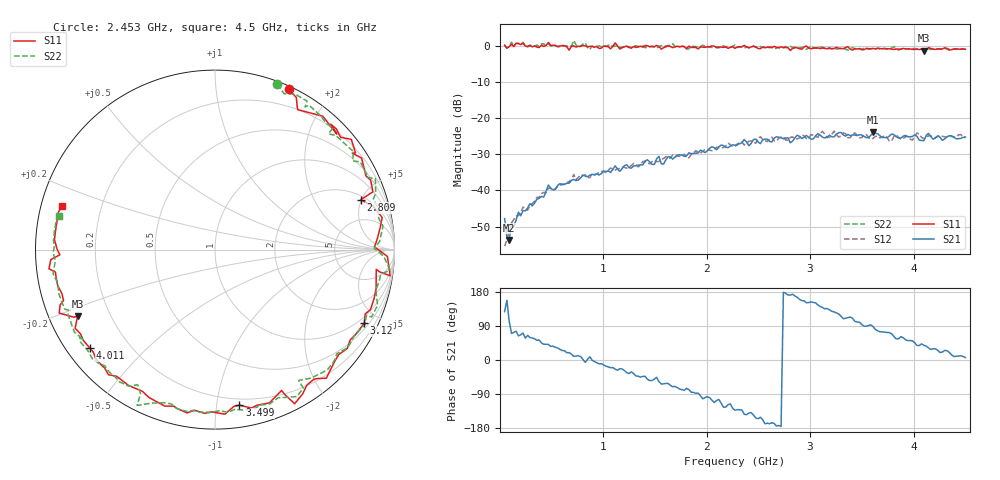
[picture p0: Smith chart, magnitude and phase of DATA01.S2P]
! Network Analyzer HP8722ES.07.74: Oct 30, 2002 Serial No. US39175660
! Hewlett-Packard
! 30 May 2012  16:24:00
! Frequency  S11  S21  S12  S22
# HZ  S  RI R  50
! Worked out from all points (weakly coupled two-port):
!   201 points, 50 MHz to 4.5 GHz, reference 50 ohm
!   highest |S21| = -23.95 dB at 3.61 GHz (marker M1); lowest = -53.7 dB at 94.5 MHz (marker M2)
!   lowest |S11| = -1.4 dB at 4.099 GHz (marker M3), VSWR 12.37, Z = 4.25 - j11.4 ohm
!   |S11| at or under -10 dB: nowhere
!   |S22| runs from -1.3 to 1.4 dB; largest |S21 - S12| = 0.015
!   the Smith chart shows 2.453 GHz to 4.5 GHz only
!   S11 on the Smith chart (normalised r, x): 2.453 GHz: 0.03, +1.56; 2.809 GHz: 2.36, +4.92; 3.12 GHz: 0.71, -4.17; 3.499 GHz: 0.15, -1.16; 4.011 GHz: 0.07, -0.34; 4.5 GHz: 0.06, +0.14
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5e7  1.01 -0.114  -0.0025 0.00323  0.00128 -0.00112  1.007 -0.1103
9.45e7  0.9574 -0.1477  -0.000416 0.00202  0.00079 0.00261  0.962 -0.1479
1.1675e8  1.009 -0.2685  0.00122 0.00335  -0.00124 0.00335  1.073 -0.3
2.28e8  0.9491 -0.5187  0.00171 0.00498  0.00202 0.00556  0.9777 -0.5243
4.2825e8  0.4884 -0.8433  0.00607 0.00538  0.00761 0.00553  0.418 -0.9747
8.065e8  -0.3138 -0.9558  0.0163 0.000429  0.016 0.000908  -0.3024 -1.009
1.0735e9  -0.6942 -0.5774  0.0166 -0.00619  0.0187 -0.00813  -0.8148 -0.6271
1.118e9  -0.8407 -0.6949  0.02 -0.00901  0.0181 -0.0059  -0.716 -0.671
1.54075e9  -0.9604 0.1465  0.016 -0.0248  0.0118 -0.0222  -0.9606 0.1296
1.563e9  -0.8716 0.2004  0.0105 -0.0209  0.0099 -0.0247  -0.9444 0.3362
1.83e9  -0.7889 0.5877  0.00679 -0.0324  0.00214 -0.0282  -0.6868 0.5854
2.275e9  0.0973 0.9141  -0.0284 -0.0308  -0.0212 -0.0352  -0.0642 1.017
2.453e9  0.4096 0.8933  -0.0413 -0.0286  -0.04 -0.0245  0.3464 0.9206
2.809e9  0.8109 0.2769  -0.045 0.00689  -0.0539 0.00221  0.8936 0.395
3.0315e9  0.8976 -0.2169  -0.0453 0.0243  -0.0479 0.032  0.9228 -0.1413
3.1205e9  0.8318 -0.4105  -0.0407 0.036  -0.0464 0.0461  0.8727 -0.3752
3.49875e9  0.1358 -0.8668  -0.0036 0.0583  -0.00504 0.0534  0.2526 -0.8665
3.61e9  -0.0581 -0.9121  0.00284 0.0634  0.00487 0.0523  0.0269 -0.8977
3.76575e9  -0.3691 -0.8231  0.0172 0.0537  0.0198 0.0439  -0.2847 -0.8529
4.0105e9  -0.6982 -0.548  0.0409 0.0419  0.0309 0.046  -0.6835 -0.6078
4.0995e9  -0.7653 -0.371  0.0381 0.0304  0.04 0.0334  -0.7308 -0.5033
4.5e9  -0.8546 0.2406  0.0544 0.00623  0.0531 0.0024  -0.869 0.1866
